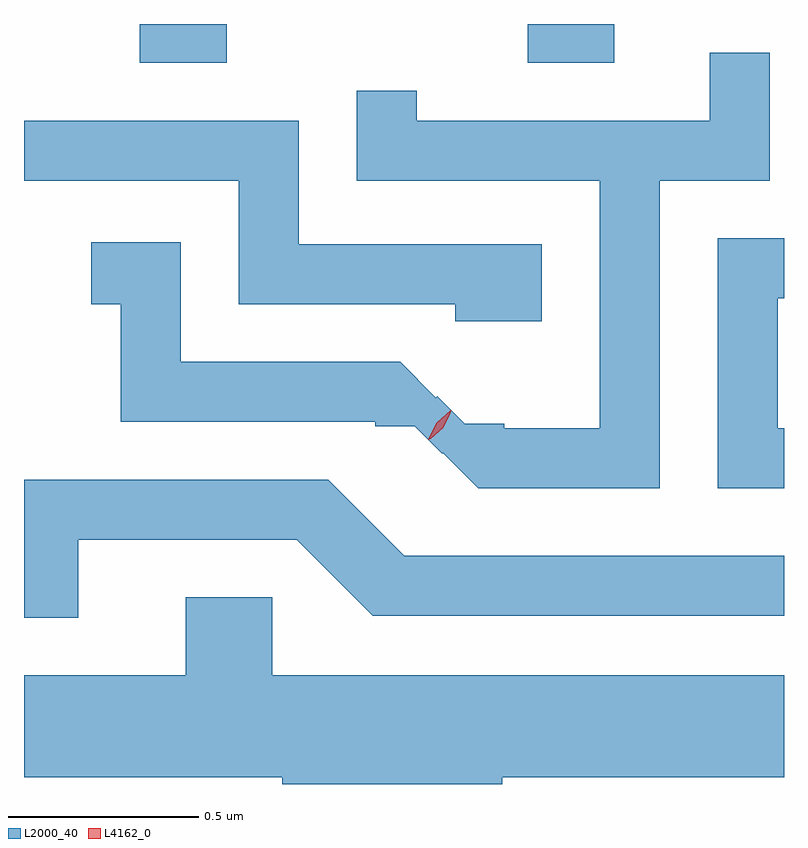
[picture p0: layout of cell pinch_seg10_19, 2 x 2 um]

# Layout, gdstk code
import gdstk
lib = gdstk.Library(unit=1e-6, precision=1e-09)
def R(c, l, rs):  # rectangles x0, y0, x1, y1
    for r in rs: c.add(gdstk.rectangle(r[:2], r[2:], *l))
def P(c, l, *ps):  # polygons
    for p in ps: c.add(gdstk.Polygon(p, *l))
L2000_40 = (2000, 40)
L4162_0 = (4162, 0)

pinch_seg10_19 = lib.new_cell('pinch_seg10_19')
R(pinch_seg10_19, L2000_40, [(832.431,2197.936,832.659,2198.038), (833.451,2197.936,833.679,2198.038)])
P(pinch_seg10_19, L2000_40, [(833.799,2197.626),(834.089,2197.626),(834.089,2197.963),(833.931,2197.963),(833.931,2197.784),(833.159,2197.784),(833.159,2197.863),(833.001,2197.863),(833.001,2197.626),(833.641,2197.626),(833.641,2196.974),(833.39,2196.974),(833.39,2196.986),(833.286,2196.986),(833.214,2197.059),(833.21,2197.055),(833.116,2197.149),(832.539,2197.149),(832.539,2197.464),(832.303,2197.464),(832.303,2197.301),(832.381,2197.301),(832.381,2196.991),(833.05,2196.991),(833.05,2196.979),(833.154,2196.979),(833.227,2196.907),(833.229,2196.909),(833.322,2196.816),(833.799,2196.816)],
  [(833.489,2197.459),(832.849,2197.459),(832.849,2197.784),(832.126,2197.784),(832.126,2197.626),(832.691,2197.626),(832.691,2197.301),(833.261,2197.301),(833.261,2197.256),(833.489,2197.256)],
  [(834.126,2196.974),(834.109,2196.974),(834.109,2197.316),(834.126,2197.316),(834.126,2197.474),(833.951,2197.474),(833.951,2196.816),(834.126,2196.816)],
  [(832.269,2196.681),(832.844,2196.681),(833.044,2196.481),(834.126,2196.481),(834.126,2196.639),(833.127,2196.639),(832.927,2196.839),(832.126,2196.839),(832.126,2196.476),(832.269,2196.476)],
  [(833.384,2196.056),(834.126,2196.056),(834.126,2196.324),(832.779,2196.324),(832.779,2196.529),(832.551,2196.529),(832.551,2196.324),(832.126,2196.324),(832.126,2196.056),(832.806,2196.056),(832.806,2196.038),(833.384,2196.038)])
P(pinch_seg10_19, L4162_0, [(833.19,2196.944),(833.19,2196.945),(833.212,2196.989),(833.249,2197.021),(833.25,2197.021),(833.25,2197.02),(833.228,2196.976),(833.191,2196.944)],
  [(833.195,2196.947),(833.195,2196.948),(833.214,2196.988),(833.248,2197.015),(833.248,2197.015),(833.248,2197.014),(833.229,2196.975),(833.196,2196.947)])

lib.write_gds('pinch_seg10_19.gds')
